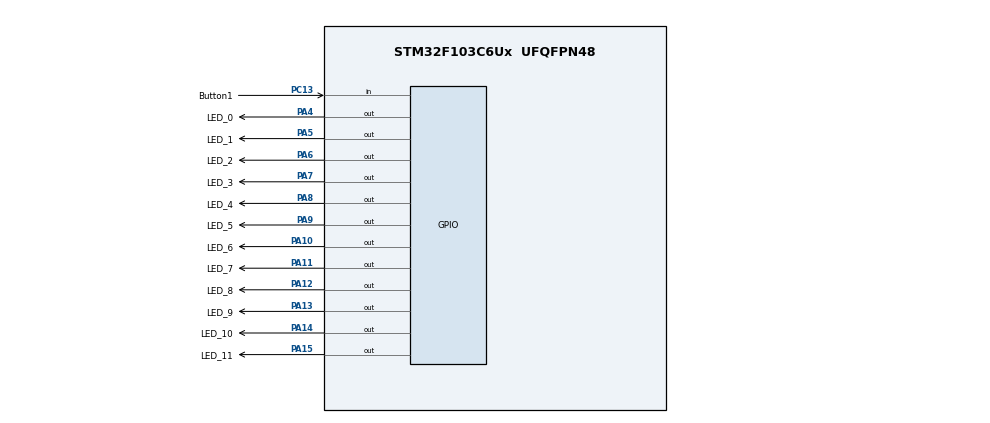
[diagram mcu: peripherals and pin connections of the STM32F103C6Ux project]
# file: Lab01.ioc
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Mcu.Family=STM32F1
Mcu.Name=STM32F103C6Ux
Mcu.Package=UFQFPN48
NVIC.PriorityGroup=NVIC_PRIORITYGROUP_4
NVIC.TIM2_IRQn=true\:0\:0\:false\:false\:true\:true\:true
PA10.GPIO_Label=LED_6
PA10.Signal=GPIO_Output
PA11.GPIO_Label=LED_7
PA11.Signal=GPIO_Output
PA12.GPIO_Label=LED_8
PA12.Signal=GPIO_Output
PA13.GPIO_Label=LED_9
PA13.Signal=GPIO_Output
PA14.GPIO_Label=LED_10
PA14.Signal=GPIO_Output
PA15.GPIO_Label=LED_11
PA15.Signal=GPIO_Output
PA4.GPIO_Label=LED_0
PA4.Signal=GPIO_Output
PA5.GPIO_Label=LED_1
PA5.Signal=GPIO_Output
PA6.GPIO_Label=LED_2
PA6.Signal=GPIO_Output
PA7.GPIO_Label=LED_3
PA7.Signal=GPIO_Output
PA8.GPIO_Label=LED_4
PA8.Signal=GPIO_Output
PA9.GPIO_Label=LED_5
PA9.Signal=GPIO_Output
PC13-TAMPER-RTC.GPIO_Label=Button1
PC13-TAMPER-RTC.GPIO_PuPd=GPIO_PULLUP
PC13-TAMPER-RTC.Signal=GPIO_Input
ProjectManager.HeapSize=0x200
ProjectManager.StackSize=0x400
ProjectManager.TargetToolchain=STM32CubeIDE
RCC.APB1Freq_Value=8000000
RCC.APB2Freq_Value=8000000
TIM2.Prescaler=7999
VP_SYS_VS_ND.Mode=No_Debug
VP_TIM2_VS_ClockSourceINT.Mode=Internal
board=custom

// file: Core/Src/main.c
/* USER CODE BEGIN Header */
/**
  ******************************************************************************
  * @file           : main.c
  * @brief          : Main program body
  ******************************************************************************
  * @attention
  *
  * <h2><center>&copy; Copyright (c) 2022 STMicroelectronics.
  * All rights reserved.</center></h2>
  *
  * This software component is licensed by ST under BSD 3-Clause license,
  * the "License"; You may not use this file except in compliance with the
  * License. You may obtain a copy of the License at:
  *                        opensource.org/licenses/BSD-3-Clause
  *
  ******************************************************************************
  */
/* USER CODE END Header */
#include "main.h"

TIM_HandleTypeDef htim2;

void SystemClock_Config(void);
static void MX_GPIO_Init(void);
static void MX_TIM2_Init(void);

/* USER CODE BEGIN 0 */

// Exercise 7
void clearAllClock (){
	HAL_GPIO_WritePin (GPIOA, LED_0_Pin | LED_1_Pin | LED_2_Pin | LED_3_Pin | LED_4_Pin | LED_5_Pin | LED_6_Pin | LED_7_Pin | LED_8_Pin | LED_9_Pin | LED_10_Pin | LED_11_Pin, SET);
}

// Exercise 8
void setNumberOnClock (int num){
	switch ( num ){
		case 0:
			HAL_GPIO_WritePin (GPIOA, LED_0_Pin, RESET );
			break;
		case 1:
			HAL_GPIO_WritePin (GPIOA, LED_1_Pin, RESET );
			break;
		case 2:
			HAL_GPIO_WritePin (GPIOA, LED_2_Pin, RESET );
			break;
		case 3:
			HAL_GPIO_WritePin (GPIOA, LED_3_Pin, RESET );
			break;
		case 4:
			HAL_GPIO_WritePin (GPIOA, LED_4_Pin, RESET );
			break;
		case 5:
			HAL_GPIO_WritePin (GPIOA, LED_5_Pin, RESET );
			break;
		case 6:
			HAL_GPIO_WritePin (GPIOA, LED_6_Pin, RESET );
			break;
		case 7:
			HAL_GPIO_WritePin (GPIOA, LED_7_Pin, RESET );
			break;
		case 8:
			HAL_GPIO_WritePin (GPIOA, LED_8_Pin, RESET );
			break;
		case 9:
			HAL_GPIO_WritePin (GPIOA, LED_9_Pin, RESET );
			break;
		case 10:
			HAL_GPIO_WritePin (GPIOA, LED_10_Pin, RESET );
			break;
		case 11:
			HAL_GPIO_WritePin (GPIOA, LED_11_Pin, RESET );
			break;
		default:
			break;
	}
}

// Exercise 9
void clearNumberOnClock (int num){
	switch ( num ){
		case 0:
			HAL_GPIO_WritePin (GPIOA, LED_0_Pin, SET );
			break;
		case 1:
			HAL_GPIO_WritePin (GPIOA, LED_1_Pin, SET );
			break;
		case 2:
			HAL_GPIO_WritePin (GPIOA, LED_2_Pin, SET );
			break;
		case 3:
			HAL_GPIO_WritePin (GPIOA, LED_3_Pin, SET );
			break;
		case 4:
			HAL_GPIO_WritePin (GPIOA, LED_4_Pin, SET );
			break;
		case 5:
			HAL_GPIO_WritePin (GPIOA, LED_5_Pin, SET );
			break;
		case 6:
			HAL_GPIO_WritePin (GPIOA, LED_6_Pin, SET );
			break;
		case 7:
			HAL_GPIO_WritePin (GPIOA, LED_7_Pin, SET );
			break;
		case 8:
			HAL_GPIO_WritePin (GPIOA, LED_8_Pin, SET );
			break;
		case 9:
			HAL_GPIO_WritePin (GPIOA, LED_9_Pin, SET );
			break;
		case 10:
			HAL_GPIO_WritePin (GPIOA, LED_10_Pin, SET );
			break;
		case 11:
			HAL_GPIO_WritePin (GPIOA, LED_11_Pin, SET );
			break;
		default:
			break;
	}
}
/* USER CODE END 0 */

int main(void)
{

  /* MCU Configuration--------------------------------------------------------*/

  /* Reset of all peripherals, Initializes the Flash interface and the Systick. */
  HAL_Init();

  /* Configure the system clock */
  SystemClock_Config();

  /* Initialize all configured peripherals */
  MX_GPIO_Init();
  MX_TIM2_Init();
  /* USER CODE BEGIN 2 */
  int hour = 0, minute = 15, second = 0, start = 0;
  /* USER CODE END 2 */

  /* Infinite loop */
  /* USER CODE BEGIN WHILE */
  while (1)
  {
	  if(second % 5 == 0 || start == 0) {
		  start = 1;
		  clearAllClock();
	  }
	  if(second == 0)
		  setNumberOnClock(11);
	  else {
		  if ((second / 5 -1) < 0) setNumberOnClock(11);
		  else setNumberOnClock (second / 5 - 1);
	  }
	  if(minute == 0)
		  setNumberOnClock(11);
	  else {
		  if ((minute / 5 -1) < 0) setNumberOnClock(11);
		  else setNumberOnClock(minute / 5 - 1);
	  }
	  if ((hour % 12) == 0)
		  setNumberOnClock(11);
	  else {
		  setNumberOnClock(hour % 12 - 1);
	  }

	  second++;

	  if(second == 60){
		  second = 0;
		  minute++;
	  }
	  if(minute == 60){
		  minute = 0;
		  hour++;
	  }
	  if(hour == 24){
		  hour = 0;
	  }
	  HAL_Delay(100);

    /* USER CODE END WHILE */

  }
}

void SystemClock_Config(void)
{
  RCC_OscInitTypeDef RCC_OscInitStruct = {0};
  RCC_ClkInitTypeDef RCC_ClkInitStruct = {0};

  /** Initializes the RCC Oscillators according to the specified parameters
  * in the RCC_OscInitTypeDef structure.
  */
  RCC_OscInitStruct.OscillatorType = RCC_OSCILLATORTYPE_HSI;
  RCC_OscInitStruct.HSIState = RCC_HSI_ON;
  RCC_OscInitStruct.HSICalibrationValue = RCC_HSICALIBRATION_DEFAULT;
  RCC_OscInitStruct.PLL.PLLState = RCC_PLL_NONE;
  if (HAL_RCC_OscConfig(&RCC_OscInitStruct) != HAL_OK)
  {
    Error_Handler();
  }
  /** Initializes the CPU, AHB and APB buses clocks
  */
  RCC_ClkInitStruct.ClockType = RCC_CLOCKTYPE_HCLK|RCC_CLOCKTYPE_SYSCLK
                              |RCC_CLOCKTYPE_PCLK1|RCC_CLOCKTYPE_PCLK2;
  RCC_ClkInitStruct.SYSCLKSource = RCC_SYSCLKSOURCE_HSI;
  RCC_ClkInitStruct.AHBCLKDivider = RCC_SYSCLK_DIV1;
  RCC_ClkInitStruct.APB1CLKDivider = RCC_HCLK_DIV1;
  RCC_ClkInitStruct.APB2CLKDivider = RCC_HCLK_DIV1;

  if (HAL_RCC_ClockConfig(&RCC_ClkInitStruct, FLASH_LATENCY_0) != HAL_OK)
  {
    Error_Handler();
  }
}

static void MX_TIM2_Init(void)
{

  TIM_ClockConfigTypeDef sClockSourceConfig = {0};
  TIM_MasterConfigTypeDef sMasterConfig = {0};

  htim2.Instance = TIM2;
  htim2.Init.Prescaler = 7999;
  htim2.Init.CounterMode = TIM_COUNTERMODE_UP;
  htim2.Init.Period = 65535;
  htim2.Init.ClockDivision = TIM_CLOCKDIVISION_DIV1;
  htim2.Init.AutoReloadPreload = TIM_AUTORELOAD_PRELOAD_DISABLE;
  if (HAL_TIM_Base_Init(&htim2) != HAL_OK)
  {
    Error_Handler();
  }
  sClockSourceConfig.ClockSource = TIM_CLOCKSOURCE_INTERNAL;
  if (HAL_TIM_ConfigClockSource(&htim2, &sClockSourceConfig) != HAL_OK)
  {
    Error_Handler();
  }
  sMasterConfig.MasterOutputTrigger = TIM_TRGO_RESET;
  sMasterConfig.MasterSlaveMode = TIM_MASTERSLAVEMODE_DISABLE;
  if (HAL_TIMEx_MasterConfigSynchronization(&htim2, &sMasterConfig) != HAL_OK)
  {
    Error_Handler();
  }

}

static void MX_GPIO_Init(void)
{
  GPIO_InitTypeDef GPIO_InitStruct = {0};

  /* GPIO Ports Clock Enable */
  __HAL_RCC_GPIOC_CLK_ENABLE();
  __HAL_RCC_GPIOA_CLK_ENABLE();

  /*Configure GPIO pin Output Level */
  HAL_GPIO_WritePin(GPIOA, LED_0_Pin|LED_1_Pin|LED_2_Pin|LED_3_Pin
                          |LED_4_Pin|LED_5_Pin|LED_6_Pin|LED_7_Pin
                          |LED_8_Pin|LED_9_Pin|LED_10_Pin|LED_11_Pin, GPIO_PIN_RESET);

  /*Configure GPIO pin : Button1_Pin */
  GPIO_InitStruct.Pin = Button1_Pin;
  GPIO_InitStruct.Mode = GPIO_MODE_INPUT;
  GPIO_InitStruct.Pull = GPIO_PULLUP;
  HAL_GPIO_Init(Button1_GPIO_Port, &GPIO_InitStruct);

  /*Configure GPIO pins : LED_0_Pin LED_1_Pin LED_2_Pin LED_3_Pin
                           LED_4_Pin LED_5_Pin LED_6_Pin LED_7_Pin
                           LED_8_Pin LED_9_Pin LED_10_Pin LED_11_Pin */
  GPIO_InitStruct.Pin = LED_0_Pin|LED_1_Pin|LED_2_Pin|LED_3_Pin
                          |LED_4_Pin|LED_5_Pin|LED_6_Pin|LED_7_Pin
                          |LED_8_Pin|LED_9_Pin|LED_10_Pin|LED_11_Pin;
  GPIO_InitStruct.Mode = GPIO_MODE_OUTPUT_PP;
  GPIO_InitStruct.Pull = GPIO_NOPULL;
  GPIO_InitStruct.Speed = GPIO_SPEED_FREQ_LOW;
  HAL_GPIO_Init(GPIOA, &GPIO_InitStruct);

}

/* USER CODE BEGIN 4 */
void HAL_TIM_PeriodElapsedCallback(TIM_HandleTypeDef * htim){
	getKeyInput();
}
/* USER CODE END 4 */

void Error_Handler(void)
{
  __disable_irq();
  while (1)
  {
  }
}

/************************ (C) COPYRIGHT STMicroelectronics *****END OF FILE****/
